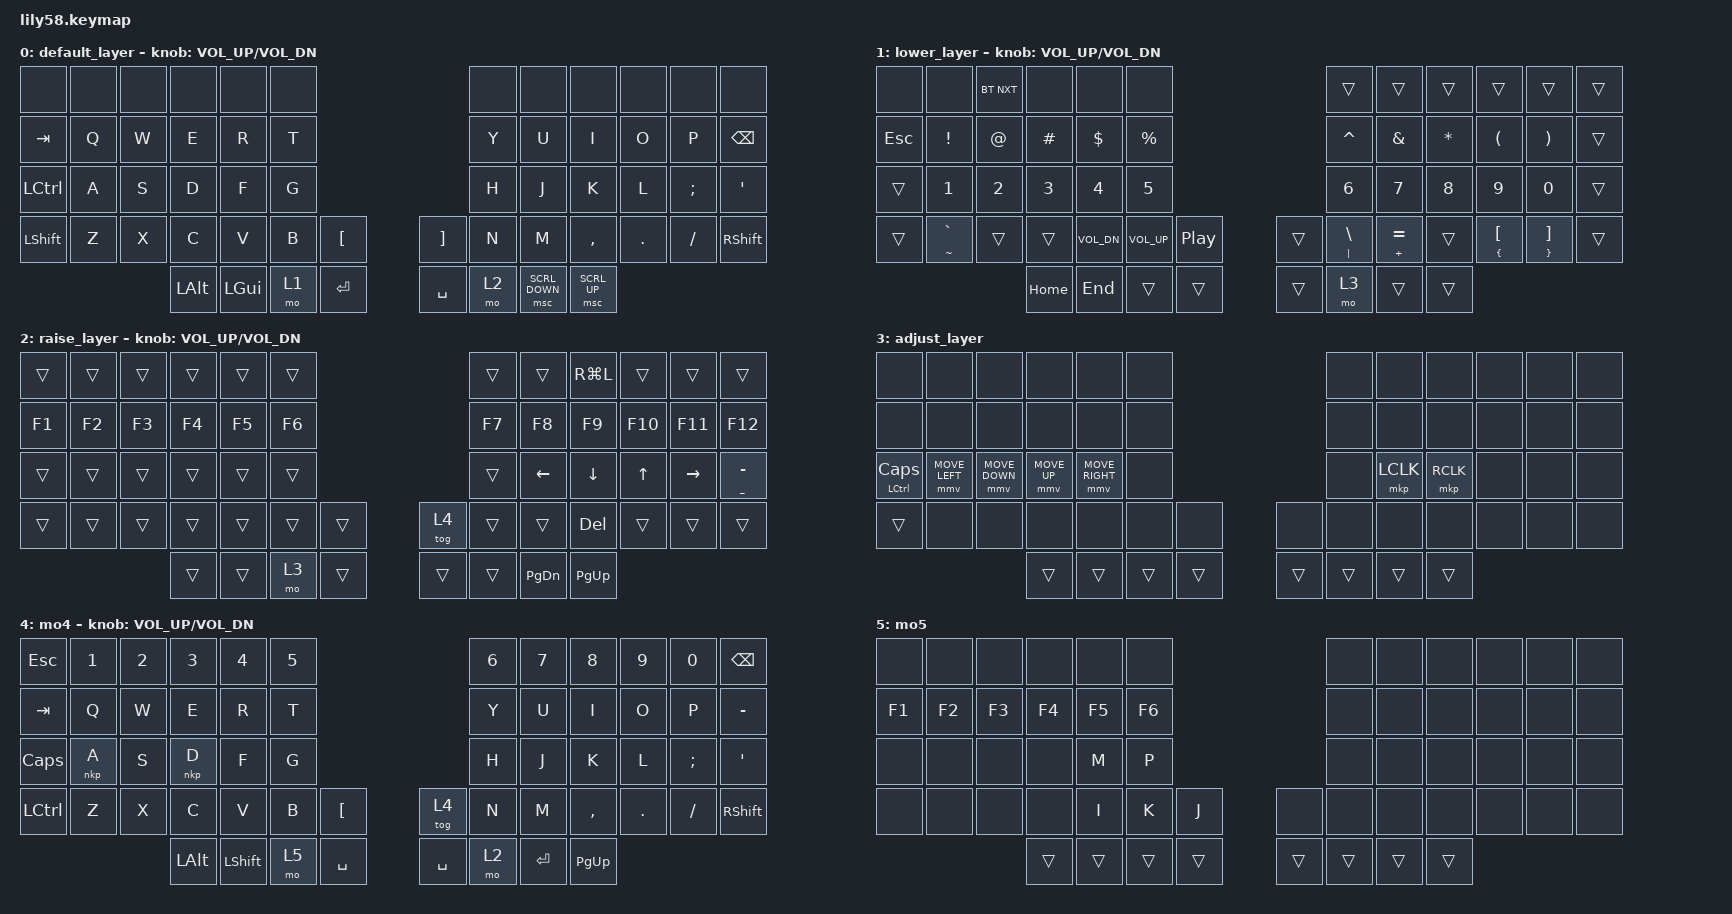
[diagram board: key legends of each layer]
/*
 * Copyright (c) 2020 The ZMK Contributors
 *
 * SPDX-License-Identifier: MIT
 */

#include <behaviors/non_overlap.dtsi>
#include <behaviors.dtsi>
#include <dt-bindings/zmk/bt.h>
#include <dt-bindings/zmk/keys.h>
#include <dt-bindings/zmk/pointing.h>

#define ZMK_POINTING_DEFAULT_MOVE_VAL 1500
#define ZMK_POINTING_DEFAULT_SCRL_VAL 20

/ {
    combos {
        compatible = "zmk,combos";

        combo_mclk {
            timeout-ms = <50>;
            key-positions = <31 32>;
            layers = <3>;
            bindings = <&mkp MCLK>;
        };

        combo_soft-off {
            bindings = <&soft_off>;
            key-positions = <0 1>;
            timeout-ms = <50>;
            layers = <1>;
        };

        combo_bt-clear {
            bindings = <&bt BT_CLR>;
            key-positions = <3 4>;
            layers = <1>;
            timeout-ms = <50>;
        };
    };
};

/ {
    behaviors {
        ht_tp: hold_tap_tap_preferred {
            compatible = "zmk,behavior-hold-tap";
            bindings = <&kp>, <&kp>;

            #binding-cells = <2>;
            flavor = "tap-preferred";
            tapping-term-ms = <280>;                      // <---[[produces hold if held longer than tapping-term-ms]]
            quick-tap-ms = <175>;                          // <---[[produces tap if released before quick-tap-ms]]
            require-prior-idle-ms = <150>;
        };

        ht_hp: hold_tap_hold_preferred {
            compatible = "zmk,behavior-hold-tap";
            bindings = <&kp>, <&kp>;

            #binding-cells = <2>;
            flavor = "hold-preferred";
            tapping-term-ms = <280>;
            quick-tap-ms = <175>;
            require-prior-idle-ms = <150>;
        };

        td1_2: tap_dance_layer1_layer2 {
            compatible = "zmk,behavior-tap-dance";
            label = "tp1_layer1_tp2_layer2";
            #binding-cells = <0>;
            bindings = <&mo 1>, <&mo 2>;
        };

        td2_1: tap_dance_layer2_layer1 {
            compatible = "zmk,behavior-tap-dance";
            label = "tp1_layer2_tp2_layer1";
            #binding-cells = <0>;
            bindings = <&mo 2>, <&mo 1>;
        };
    };

    keymap {
        compatible = "zmk,keymap";

        default_layer {
            // ------------------------------------------------------------------------------------------------------------
            // |  ESC  |  1  |  2  |  3   |  4   |  5   |                   |  6   |  7    |  8    |  9   |   0   |   `   |
            // |  TAB  |  Q  |  W  |  E   |  R   |  T   |                   |  Y   |  U    |  I    |  O   |   P   |   BSPC   |
            // |  CTRL |  A  |  S  |  D   |  F   |  G   |                   |  H   |  J    |  K    |  L   |   ;   |   '   |
            // | SHIFT |  Z  |  X  |  C   |  V   |  B   |   "["  |  |  "]"  |  N   |  M    |  ,    |  .   |   /   | SHIFT |
            //                     | ALT  | GUI  | LOWER|  SPACE |  | SPACE | RAISE| PG_DN  | PG_UP   |

            bindings = <
&none      &none  &none  &none     &none     &none                                 &none  &none           &none         &none    &none     &none
&kp TAB    &kp Q  &kp W  &kp E     &kp R     &kp T                                 &kp Y  &kp U           &kp I         &kp O    &kp P     &kp BSPC
&kp LCTRL  &kp A  &kp S  &kp D     &kp F     &kp G                                 &kp H  &kp J           &kp K         &kp L    &kp SEMI  &kp SQT
&kp LSHFT  &kp Z  &kp X  &kp C     &kp V     &kp B  &kp LEFT_BRACKET    &kp RBKT   &kp N  &kp M           &kp COMMA     &kp DOT  &kp FSLH  &kp RSHFT
                         &kp LALT  &kp LGUI  &mo 1  &kp ENTER           &kp SPACE  &mo 2  &msc SCRL_DOWN  &msc SCRL_UP
            >;

            sensor-bindings = <&inc_dec_kp C_VOL_UP C_VOL_DN>;
        };

        lower_layer {
            // ------------------------------------------------------------------------------------------------------------
            // | BTCLR | BT1 | BT2 |  BT3 |  BT4 |  BT5 |                   |      |       |       |      |       |       |
            // |  F1   |  F2 |  F3 |  F4  |  F5  |  F6  |                   |  F7  |  F8   |  F9   |  F10 |  F11  |  F12  |
            // |   `   |  !  |  @  |  #   |  $   |  %   |                   |  ^   |  &    |  *    |  (   |   )   |   ~   |
            // |       |     |     |      |      |      |        |  |       |      |  _    |  +    |  {   |   }   |  "|"  |
            //                     |      |      |      |        |  |       |      |       |       |

            bindings = <
&none       &none               &bt BT_NXT    &none         &none         &none                                        &trans                 &trans             &trans     &trans                          &trans                            &trans
&kp ESCAPE  &kp EXCL            &kp AT        &kp HASH      &kp DOLLAR    &kp PERCENT                                  &kp CARET              &kp AMPS           &kp ASTRK  &kp LEFT_PARENTHESIS            &kp RIGHT_PARENTHESIS             &trans
&trans      &kp NUMBER_1        &kp NUMBER_2  &kp NUMBER_3  &kp NUMBER_4  &kp N5                                       &kp NUMBER_6           &kp N7             &kp N8     &kp N9                          &kp N0                            &trans
&trans      &ht_tp TILDE GRAVE  &trans        &trans        &kp C_VOL_DN  &kp C_VOLUME_UP  &kp C_PLAY_PAUSE    &trans  &ht_tp PIPE BACKSLASH  &ht_tp PLUS EQUAL  &trans     &ht_tp LEFT_BRACE LEFT_BRACKET  &ht_tp RIGHT_BRACE RIGHT_BRACKET  &trans
                                              &kp HOME      &kp END       &trans           &trans              &trans  &mo 3                  &trans             &trans
            >;

            sensor-bindings = <&inc_dec_kp C_VOL_UP C_VOL_DN>;
        };

        raise_layer {
            // ------------------------------------------------------------------------------------------------------------
            // |       |     |     |      |      |      |                   |      |       |       |      |       |       |
            // |   `   |  1  |  2  |  3   |  4   |  5   |                   |  6   |   7   |   8   |  9   |   0   |       |
            // |   F1  |  F2 |  F3 |  F4  |  F5  |  F6  |                   |      |   <-  |   v   |  ^   |  ->   |       |
            // |   F7  |  F8 |  F9 |  F10 |  F11 |  F12 |        |  |       |  +   |   -   |   =   |  [   |   ]   |   \   |
            //                     |      |      |      |        |  |       |      |       |       |

            bindings = <
&trans  &trans  &trans  &trans  &trans  &trans                    &trans  &trans     &kp RG(L)  &trans   &trans     &trans
&kp F1  &kp F2  &kp F3  &kp F4  &kp F5  &kp F6                    &kp F7  &kp F8     &kp F9     &kp F10  &kp F11    &kp F12
&trans  &trans  &trans  &trans  &trans  &trans                    &trans  &kp LEFT   &kp DOWN   &kp UP   &kp RIGHT  &ht_tp UNDER MINUS
&trans  &trans  &trans  &trans  &trans  &trans  &trans    &tog 4  &trans  &trans     &kp DEL    &trans   &trans     &trans
                        &trans  &trans  &mo 3   &trans    &trans  &trans  &kp PG_DN  &kp PG_UP
            >;

            sensor-bindings = <&inc_dec_kp C_VOL_UP C_VOL_DN>;
        };

        adjust_layer {
            bindings = <
&none                  &none           &none           &none         &none            &none                     &none   &none      &none      &none  &none  &none
&none                  &none           &none           &none         &none            &none                     &none   &none      &none      &none  &none  &none
&ht_hp LCTRL CAPSLOCK  &mmv MOVE_LEFT  &mmv MOVE_DOWN  &mmv MOVE_UP  &mmv MOVE_RIGHT  &none                     &none   &mkp LCLK  &mkp RCLK  &none  &none  &none
&trans                 &none           &none           &none         &none            &none   &none     &none   &none   &none      &none      &none  &none  &none
                                                       &trans        &trans           &trans  &trans    &trans  &trans  &trans     &trans
            >;
        };

        mo4 {
            bindings = <
&kp ESCAPE  &kp N1  &kp N2  &kp N3    &kp N4          &kp N5                                 &kp N6  &kp N7     &kp N8     &kp N9   &kp N0    &kp BSPC
&kp TAB     &kp Q   &kp W   &kp E     &kp R           &kp T                                  &kp Y   &kp U      &kp I      &kp O    &kp P     &kp MINUS
&kp CLCK    &nkp A  &kp S   &nkp D    &kp F           &kp G                                  &kp H   &kp J      &kp K      &kp L    &kp SEMI  &kp SQT
&kp LCTRL   &kp Z   &kp X   &kp C     &kp V           &kp B   &kp LEFT_BRACKET    &tog 4     &kp N   &kp M      &kp COMMA  &kp DOT  &kp FSLH  &kp RSHFT
                            &kp LALT  &kp LEFT_SHIFT  &mo 5   &kp SPACE           &kp SPACE  &mo 2   &kp ENTER  &kp PG_UP
            >;

            sensor-bindings = <&inc_dec_kp C_VOL_UP C_VOL_DN>;
        };

        mo5 {
            bindings = <
&none   &none   &none   &none   &none   &none                     &none   &none   &none   &none  &none  &none
&kp F1  &kp F2  &kp F3  &kp F4  &kp F5  &kp F6                    &none   &none   &none   &none  &none  &none
&none   &none   &none   &none   &kp M   &kp P                     &none   &none   &none   &none  &none  &none
&none   &none   &none   &none   &kp I   &kp K   &kp J     &none   &none   &none   &none   &none  &none  &none
                        &trans  &trans  &trans  &trans    &trans  &trans  &trans  &trans
            >;
        };
    };
};
